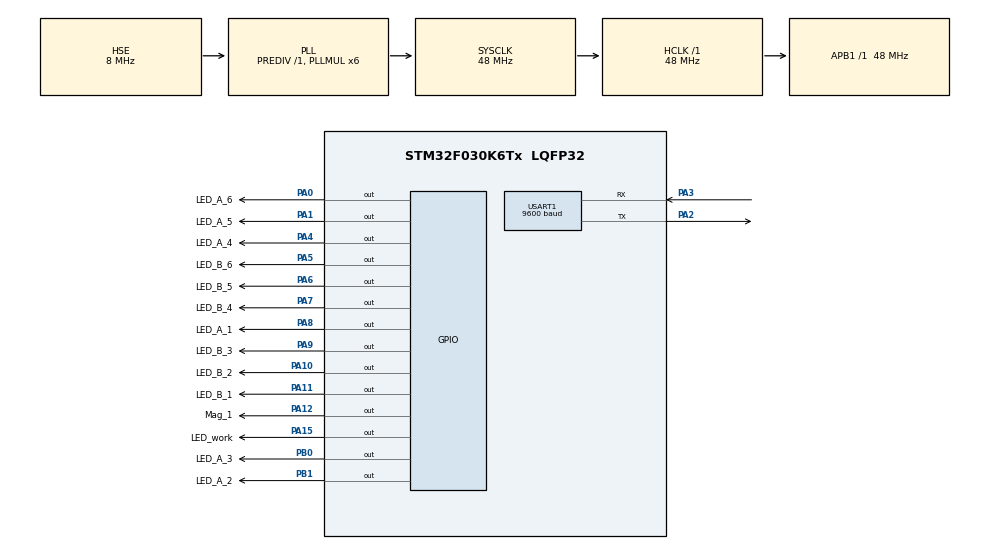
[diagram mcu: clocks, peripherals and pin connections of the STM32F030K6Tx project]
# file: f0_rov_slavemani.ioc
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Mcu.Family=STM32F0
Mcu.Name=STM32F030K6Tx
Mcu.Package=LQFP32
NVIC.USART1_IRQn=true\:0\:0\:false\:false\:true\:true
PA0.GPIO_Label=LED_A_6
PA0.Signal=GPIO_Output
PA1.GPIO_Label=LED_A_5
PA1.Signal=GPIO_Output
PA10.GPIO_Label=LED_B_2
PA10.Signal=GPIO_Output
PA11.GPIO_Label=LED_B_1
PA11.Signal=GPIO_Output
PA12.GPIO_Label=Mag_1
PA12.Signal=GPIO_Output
PA13.Mode=Serial_Wire
PA13.Signal=SYS_SWDIO
PA14.Mode=Serial_Wire
PA14.Signal=SYS_SWCLK
PA15.GPIO_Label=LED_work
PA15.Signal=GPIO_Output
PA2.Mode=Asynchronous
PA2.Signal=USART1_TX
PA3.Mode=Asynchronous
PA3.Signal=USART1_RX
PA4.GPIO_Label=LED_A_4
PA4.Signal=GPIO_Output
PA5.GPIO_Label=LED_B_6
PA5.Signal=GPIO_Output
PA6.GPIO_Label=LED_B_5
PA6.Signal=GPIO_Output
PA7.GPIO_Label=LED_B_4
PA7.Signal=GPIO_Output
PA8.GPIO_Label=LED_A_1
PA8.Signal=GPIO_Output
PA9.GPIO_Label=LED_B_3
PA9.Signal=GPIO_Output
PB0.GPIO_Label=LED_A_3
PB0.Signal=GPIO_Output
PB1.GPIO_Label=LED_A_2
PB1.Signal=GPIO_Output
PF0-OSC_IN.Mode=HSE-External-Oscillator
PF0-OSC_IN.Signal=RCC_OSC_IN
PF1-OSC_OUT.Mode=HSE-External-Oscillator
PF1-OSC_OUT.Signal=RCC_OSC_OUT
ProjectManager.HeapSize=0x200
ProjectManager.StackSize=0x400
ProjectManager.TargetToolchain=MDK-ARM V5
RCC.AHBFreq_Value=48000000
RCC.APB1Freq_Value=48000000
RCC.APB1TimFreq_Value=48000000
RCC.HCLKFreq_Value=48000000
RCC.PLLMUL=RCC_PLL_MUL6
RCC.PLLSourceVirtual=RCC_PLLSOURCE_HSE
RCC.SYSCLKFreq_VALUE=48000000
RCC.SYSCLKSource=RCC_SYSCLKSOURCE_PLLCLK
USART1.BaudRate=9600
USART1.Mode=MODE_TX_RX
USART1.VirtualMode-Asynchronous=VM_ASYNC
board=custom

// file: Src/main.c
/* USER CODE BEGIN Header */
/**
  ******************************************************************************
  * @file           : main.c
  * @brief          : Main program body
  ******************************************************************************
  ** This notice applies to any and all portions of this file
  * that are not between comment pairs USER CODE BEGIN and
  * USER CODE END. Other portions of this file, whether
  * inserted by the user or by software development tools
  * are owned by their respective copyright owners.
  *
  * COPYRIGHT(c) 2019 STMicroelectronics
  *
  * Redistribution and use in source and binary forms, with or without modification,
  * are permitted provided that the following conditions are met:
  *   1. Redistributions of source code must retain the above copyright notice,
  *      this list of conditions and the following disclaimer.
  *   2. Redistributions in binary form must reproduce the above copyright notice,
  *      this list of conditions and the following disclaimer in the documentation
  *      and/or other materials provided with the distribution.
  *   3. Neither the name of STMicroelectronics nor the names of its contributors
  *      may be used to endorse or promote products derived from this software
  *      without specific prior written permission.
  *
  * THIS SOFTWARE IS PROVIDED BY THE COPYRIGHT HOLDERS AND CONTRIBUTORS "AS IS"
  * AND ANY EXPRESS OR IMPLIED WARRANTIES, INCLUDING, BUT NOT LIMITED TO, THE
  * IMPLIED WARRANTIES OF MERCHANTABILITY AND FITNESS FOR A PARTICULAR PURPOSE ARE
  * DISCLAIMED. IN NO EVENT SHALL THE COPYRIGHT HOLDER OR CONTRIBUTORS BE LIABLE
  * FOR ANY DIRECT, INDIRECT, INCIDENTAL, SPECIAL, EXEMPLARY, OR CONSEQUENTIAL
  * DAMAGES (INCLUDING, BUT NOT LIMITED TO, PROCUREMENT OF SUBSTITUTE GOODS OR
  * SERVICES; LOSS OF USE, DATA, OR PROFITS; OR BUSINESS INTERRUPTION) HOWEVER
  * CAUSED AND ON ANY THEORY OF LIABILITY, WHETHER IN CONTRACT, STRICT LIABILITY,
  * OR TORT (INCLUDING NEGLIGENCE OR OTHERWISE) ARISING IN ANY WAY OUT OF THE USE
  * OF THIS SOFTWARE, EVEN IF ADVISED OF THE POSSIBILITY OF SUCH DAMAGE.
  *
  ******************************************************************************
  */
/* USER CODE END Header */

#include "main.h"

UART_HandleTypeDef huart1;

/* USER CODE BEGIN PV */
uint8_t command[2];
uint8_t rece[1];
/* USER CODE END PV */

void SystemClock_Config(void);
static void MX_GPIO_Init(void);
static void MX_USART1_UART_Init(void);
/* USER CODE BEGIN PFP */
void work(uint8_t* command){
  switch (command[0]) {
    case '1':
      switch (command[1]) {
        case 1:
          HAL_GPIO_WritePin(LED_A_1_GPIO_Port,LED_A_1_Pin,GPIO_PIN_SET);
          HAL_GPIO_WritePin(LED_A_2_GPIO_Port,LED_A_2_Pin,GPIO_PIN_RESET);
          HAL_GPIO_WritePin(LED_A_3_GPIO_Port,LED_A_3_Pin,GPIO_PIN_RESET);
          HAL_GPIO_WritePin(LED_A_4_GPIO_Port,LED_A_4_Pin,GPIO_PIN_RESET);
          HAL_GPIO_WritePin(LED_A_5_GPIO_Port,LED_A_5_Pin,GPIO_PIN_RESET);
          HAL_GPIO_WritePin(LED_A_6_GPIO_Port,LED_A_6_Pin,GPIO_PIN_RESET);
          break;

        case 2:
          HAL_GPIO_WritePin(LED_A_1_GPIO_Port,LED_A_1_Pin,GPIO_PIN_SET);
          HAL_GPIO_WritePin(LED_A_2_GPIO_Port,LED_A_2_Pin,GPIO_PIN_SET);
          HAL_GPIO_WritePin(LED_A_3_GPIO_Port,LED_A_3_Pin,GPIO_PIN_RESET);
          HAL_GPIO_WritePin(LED_A_4_GPIO_Port,LED_A_4_Pin,GPIO_PIN_RESET);
          HAL_GPIO_WritePin(LED_A_5_GPIO_Port,LED_A_5_Pin,GPIO_PIN_RESET);
          HAL_GPIO_WritePin(LED_A_6_GPIO_Port,LED_A_6_Pin,GPIO_PIN_RESET);
          break;

        case 3:
          HAL_GPIO_WritePin(LED_A_1_GPIO_Port,LED_A_1_Pin,GPIO_PIN_SET);
          HAL_GPIO_WritePin(LED_A_2_GPIO_Port,LED_A_2_Pin,GPIO_PIN_SET);
          HAL_GPIO_WritePin(LED_A_3_GPIO_Port,LED_A_3_Pin,GPIO_PIN_SET);
          HAL_GPIO_WritePin(LED_A_4_GPIO_Port,LED_A_4_Pin,GPIO_PIN_RESET);
          HAL_GPIO_WritePin(LED_A_5_GPIO_Port,LED_A_5_Pin,GPIO_PIN_RESET);
          HAL_GPIO_WritePin(LED_A_6_GPIO_Port,LED_A_6_Pin,GPIO_PIN_RESET);
          break;

        case 4:
          HAL_GPIO_WritePin(LED_A_1_GPIO_Port,LED_A_1_Pin,GPIO_PIN_SET);
          HAL_GPIO_WritePin(LED_A_2_GPIO_Port,LED_A_2_Pin,GPIO_PIN_SET);
          HAL_GPIO_WritePin(LED_A_3_GPIO_Port,LED_A_3_Pin,GPIO_PIN_SET);
          HAL_GPIO_WritePin(LED_A_4_GPIO_Port,LED_A_4_Pin,GPIO_PIN_SET);
          HAL_GPIO_WritePin(LED_A_5_GPIO_Port,LED_A_5_Pin,GPIO_PIN_RESET);
          HAL_GPIO_WritePin(LED_A_6_GPIO_Port,LED_A_6_Pin,GPIO_PIN_RESET);
          break;

        case 5:
          HAL_GPIO_WritePin(LED_A_1_GPIO_Port,LED_A_1_Pin,GPIO_PIN_SET);
          HAL_GPIO_WritePin(LED_A_2_GPIO_Port,LED_A_2_Pin,GPIO_PIN_SET);
          HAL_GPIO_WritePin(LED_A_3_GPIO_Port,LED_A_3_Pin,GPIO_PIN_SET);
          HAL_GPIO_WritePin(LED_A_4_GPIO_Port,LED_A_4_Pin,GPIO_PIN_SET);
          HAL_GPIO_WritePin(LED_A_5_GPIO_Port,LED_A_5_Pin,GPIO_PIN_SET);
          HAL_GPIO_WritePin(LED_A_6_GPIO_Port,LED_A_6_Pin,GPIO_PIN_RESET);
          break;

        case 6:
          HAL_GPIO_WritePin(LED_A_1_GPIO_Port,LED_A_1_Pin,GPIO_PIN_SET);
          HAL_GPIO_WritePin(LED_A_2_GPIO_Port,LED_A_2_Pin,GPIO_PIN_SET);
          HAL_GPIO_WritePin(LED_A_3_GPIO_Port,LED_A_3_Pin,GPIO_PIN_SET);
          HAL_GPIO_WritePin(LED_A_4_GPIO_Port,LED_A_4_Pin,GPIO_PIN_SET);
          HAL_GPIO_WritePin(LED_A_5_GPIO_Port,LED_A_5_Pin,GPIO_PIN_SET);
          HAL_GPIO_WritePin(LED_A_6_GPIO_Port,LED_A_6_Pin,GPIO_PIN_SET);
          break;

        default:
          HAL_GPIO_WritePin(LED_A_1_GPIO_Port,LED_A_1_Pin,GPIO_PIN_RESET);
          HAL_GPIO_WritePin(LED_A_2_GPIO_Port,LED_A_2_Pin,GPIO_PIN_RESET);
          HAL_GPIO_WritePin(LED_A_3_GPIO_Port,LED_A_3_Pin,GPIO_PIN_RESET);
          HAL_GPIO_WritePin(LED_A_4_GPIO_Port,LED_A_4_Pin,GPIO_PIN_RESET);
          HAL_GPIO_WritePin(LED_A_5_GPIO_Port,LED_A_5_Pin,GPIO_PIN_RESET);
          HAL_GPIO_WritePin(LED_A_6_GPIO_Port,LED_A_6_Pin,GPIO_PIN_RESET);
          break;
      }
      break;

    case '2':
      switch (command[1]) {
        case 1:
          HAL_GPIO_WritePin(LED_B_1_GPIO_Port,LED_B_1_Pin,GPIO_PIN_SET);
          HAL_GPIO_WritePin(LED_B_2_GPIO_Port,LED_B_2_Pin,GPIO_PIN_RESET);
          HAL_GPIO_WritePin(LED_B_3_GPIO_Port,LED_B_3_Pin,GPIO_PIN_RESET);
          HAL_GPIO_WritePin(LED_B_4_GPIO_Port,LED_B_4_Pin,GPIO_PIN_RESET);
          HAL_GPIO_WritePin(LED_B_5_GPIO_Port,LED_B_5_Pin,GPIO_PIN_RESET);
          HAL_GPIO_WritePin(LED_B_6_GPIO_Port,LED_B_6_Pin,GPIO_PIN_RESET);
          break;

        case 2:
          HAL_GPIO_WritePin(LED_B_1_GPIO_Port,LED_B_1_Pin,GPIO_PIN_SET);
          HAL_GPIO_WritePin(LED_B_2_GPIO_Port,LED_B_2_Pin,GPIO_PIN_SET);
          HAL_GPIO_WritePin(LED_B_3_GPIO_Port,LED_B_3_Pin,GPIO_PIN_RESET);
          HAL_GPIO_WritePin(LED_B_4_GPIO_Port,LED_B_4_Pin,GPIO_PIN_RESET);
          HAL_GPIO_WritePin(LED_B_5_GPIO_Port,LED_B_5_Pin,GPIO_PIN_RESET);
          HAL_GPIO_WritePin(LED_B_6_GPIO_Port,LED_B_6_Pin,GPIO_PIN_RESET);
          break;

        case 3:
          HAL_GPIO_WritePin(LED_B_1_GPIO_Port,LED_B_1_Pin,GPIO_PIN_SET);
          HAL_GPIO_WritePin(LED_B_2_GPIO_Port,LED_B_2_Pin,GPIO_PIN_SET);
          HAL_GPIO_WritePin(LED_B_3_GPIO_Port,LED_B_3_Pin,GPIO_PIN_SET);
          HAL_GPIO_WritePin(LED_B_4_GPIO_Port,LED_B_4_Pin,GPIO_PIN_RESET);
          HAL_GPIO_WritePin(LED_B_5_GPIO_Port,LED_B_5_Pin,GPIO_PIN_RESET);
          HAL_GPIO_WritePin(LED_B_6_GPIO_Port,LED_B_6_Pin,GPIO_PIN_RESET);
          break;

        case 4:
          HAL_GPIO_WritePin(LED_B_1_GPIO_Port,LED_B_1_Pin,GPIO_PIN_SET);
          HAL_GPIO_WritePin(LED_B_2_GPIO_Port,LED_B_2_Pin,GPIO_PIN_SET);
          HAL_GPIO_WritePin(LED_B_3_GPIO_Port,LED_B_3_Pin,GPIO_PIN_SET);
          HAL_GPIO_WritePin(LED_B_4_GPIO_Port,LED_B_4_Pin,GPIO_PIN_SET);
          HAL_GPIO_WritePin(LED_B_5_GPIO_Port,LED_B_5_Pin,GPIO_PIN_RESET);
          HAL_GPIO_WritePin(LED_B_6_GPIO_Port,LED_B_6_Pin,GPIO_PIN_RESET);
          break;

        case 5:
          HAL_GPIO_WritePin(LED_B_1_GPIO_Port,LED_B_1_Pin,GPIO_PIN_SET);
          HAL_GPIO_WritePin(LED_B_2_GPIO_Port,LED_B_2_Pin,GPIO_PIN_SET);
          HAL_GPIO_WritePin(LED_B_3_GPIO_Port,LED_B_3_Pin,GPIO_PIN_SET);
          HAL_GPIO_WritePin(LED_B_4_GPIO_Port,LED_B_4_Pin,GPIO_PIN_SET);
          HAL_GPIO_WritePin(LED_B_5_GPIO_Port,LED_B_5_Pin,GPIO_PIN_SET);
          HAL_GPIO_WritePin(LED_B_6_GPIO_Port,LED_B_6_Pin,GPIO_PIN_RESET);
          break;

        case 6:
          HAL_GPIO_WritePin(LED_B_1_GPIO_Port,LED_B_1_Pin,GPIO_PIN_SET);
          HAL_GPIO_WritePin(LED_B_2_GPIO_Port,LED_B_2_Pin,GPIO_PIN_SET);
          HAL_GPIO_WritePin(LED_B_3_GPIO_Port,LED_B_3_Pin,GPIO_PIN_SET);
          HAL_GPIO_WritePin(LED_B_4_GPIO_Port,LED_B_4_Pin,GPIO_PIN_SET);
          HAL_GPIO_WritePin(LED_B_5_GPIO_Port,LED_B_5_Pin,GPIO_PIN_SET);
          HAL_GPIO_WritePin(LED_B_6_GPIO_Port,LED_B_6_Pin,GPIO_PIN_SET);
          break;

        default:
          HAL_GPIO_WritePin(LED_B_1_GPIO_Port,LED_B_1_Pin,GPIO_PIN_RESET);
          HAL_GPIO_WritePin(LED_B_2_GPIO_Port,LED_B_2_Pin,GPIO_PIN_RESET);
          HAL_GPIO_WritePin(LED_B_3_GPIO_Port,LED_B_3_Pin,GPIO_PIN_RESET);
          HAL_GPIO_WritePin(LED_B_4_GPIO_Port,LED_B_4_Pin,GPIO_PIN_RESET);
          HAL_GPIO_WritePin(LED_B_5_GPIO_Port,LED_B_5_Pin,GPIO_PIN_RESET);
          HAL_GPIO_WritePin(LED_B_6_GPIO_Port,LED_B_6_Pin,GPIO_PIN_RESET);
          break;
      }
      break;

    case 'M':
      READ_BIT(command[1],1)?HAL_GPIO_TogglePin(Mag_1_GPIO_Port,Mag_1_Pin):HAL_GPIO_WritePin(Mag_1_GPIO_Port,Mag_1_Pin,GPIO_PIN_RESET);
      break;
  }
}
void HAL_UART_RxCpltCallback(UART_HandleTypeDef *huart){
  switch (rece[0]) {
    case '1':
    case '2':
    case 'M':
      command[0] = rece[0];
      break;

    default:
      command[1] = rece[0];
      work(command);
      break;
  }
  HAL_UART_Receive_IT(&huart1,rece,1);
}
/* USER CODE END PFP */

int main(void)
{

  /* MCU Configuration--------------------------------------------------------*/

  /* Reset of all peripherals, Initializes the Flash interface and the Systick. */
  HAL_Init();

  /* Configure the system clock */
  SystemClock_Config();

  /* Initialize all configured peripherals */
  MX_GPIO_Init();
  MX_USART1_UART_Init();
  /* USER CODE BEGIN 2 */
  HAL_UART_Receive_IT(&huart1,rece,1);
  /* USER CODE END 2 */

  /* Infinite loop */
  /* USER CODE BEGIN WHILE */
  while (1)
  {
    HAL_GPIO_TogglePin(LED_work_GPIO_Port,LED_work_Pin);
    /* USER CODE END WHILE */

  }
}

void SystemClock_Config(void)
{
  RCC_OscInitTypeDef RCC_OscInitStruct = {0};
  RCC_ClkInitTypeDef RCC_ClkInitStruct = {0};
  RCC_PeriphCLKInitTypeDef PeriphClkInit = {0};

  /**Initializes the CPU, AHB and APB busses clocks
  */
  RCC_OscInitStruct.OscillatorType = RCC_OSCILLATORTYPE_HSE;
  RCC_OscInitStruct.HSEState = RCC_HSE_ON;
  RCC_OscInitStruct.PLL.PLLState = RCC_PLL_ON;
  RCC_OscInitStruct.PLL.PLLSource = RCC_PLLSOURCE_HSE;
  RCC_OscInitStruct.PLL.PLLMUL = RCC_PLL_MUL6;
  RCC_OscInitStruct.PLL.PREDIV = RCC_PREDIV_DIV1;
  if (HAL_RCC_OscConfig(&RCC_OscInitStruct) != HAL_OK)
  {
    Error_Handler();
  }
  /**Initializes the CPU, AHB and APB busses clocks
  */
  RCC_ClkInitStruct.ClockType = RCC_CLOCKTYPE_HCLK|RCC_CLOCKTYPE_SYSCLK
                              |RCC_CLOCKTYPE_PCLK1;
  RCC_ClkInitStruct.SYSCLKSource = RCC_SYSCLKSOURCE_PLLCLK;
  RCC_ClkInitStruct.AHBCLKDivider = RCC_SYSCLK_DIV1;
  RCC_ClkInitStruct.APB1CLKDivider = RCC_HCLK_DIV1;

  if (HAL_RCC_ClockConfig(&RCC_ClkInitStruct, FLASH_LATENCY_1) != HAL_OK)
  {
    Error_Handler();
  }
  PeriphClkInit.PeriphClockSelection = RCC_PERIPHCLK_USART1;
  PeriphClkInit.Usart1ClockSelection = RCC_USART1CLKSOURCE_PCLK1;
  if (HAL_RCCEx_PeriphCLKConfig(&PeriphClkInit) != HAL_OK)
  {
    Error_Handler();
  }
}

static void MX_USART1_UART_Init(void)
{

  huart1.Instance = USART1;
  huart1.Init.BaudRate = 9600;
  huart1.Init.WordLength = UART_WORDLENGTH_8B;
  huart1.Init.StopBits = UART_STOPBITS_1;
  huart1.Init.Parity = UART_PARITY_NONE;
  huart1.Init.Mode = UART_MODE_TX_RX;
  huart1.Init.HwFlowCtl = UART_HWCONTROL_NONE;
  huart1.Init.OverSampling = UART_OVERSAMPLING_16;
  huart1.Init.OneBitSampling = UART_ONE_BIT_SAMPLE_DISABLE;
  huart1.AdvancedInit.AdvFeatureInit = UART_ADVFEATURE_NO_INIT;
  if (HAL_UART_Init(&huart1) != HAL_OK)
  {
    Error_Handler();
  }

}

static void MX_GPIO_Init(void)
{
  GPIO_InitTypeDef GPIO_InitStruct = {0};

  /* GPIO Ports Clock Enable */
  __HAL_RCC_GPIOF_CLK_ENABLE();
  __HAL_RCC_GPIOA_CLK_ENABLE();
  __HAL_RCC_GPIOB_CLK_ENABLE();

  /*Configure GPIO pin Output Level */
  HAL_GPIO_WritePin(GPIOA, LED_A_6_Pin|LED_A_5_Pin|LED_A_4_Pin|LED_B_6_Pin
                          |LED_B_5_Pin|LED_B_4_Pin|LED_A_1_Pin|LED_B_3_Pin
                          |LED_B_2_Pin|LED_B_1_Pin|Mag_1_Pin|LED_work_Pin, GPIO_PIN_RESET);

  /*Configure GPIO pin Output Level */
  HAL_GPIO_WritePin(GPIOB, LED_A_3_Pin|LED_A_2_Pin, GPIO_PIN_RESET);

  /*Configure GPIO pins : LED_A_6_Pin LED_A_5_Pin LED_A_4_Pin LED_B_6_Pin
                           LED_B_5_Pin LED_B_4_Pin LED_A_1_Pin LED_B_3_Pin
                           LED_B_2_Pin LED_B_1_Pin Mag_1_Pin LED_work_Pin */
  GPIO_InitStruct.Pin = LED_A_6_Pin|LED_A_5_Pin|LED_A_4_Pin|LED_B_6_Pin
                          |LED_B_5_Pin|LED_B_4_Pin|LED_A_1_Pin|LED_B_3_Pin
                          |LED_B_2_Pin|LED_B_1_Pin|Mag_1_Pin|LED_work_Pin;
  GPIO_InitStruct.Mode = GPIO_MODE_OUTPUT_PP;
  GPIO_InitStruct.Pull = GPIO_NOPULL;
  GPIO_InitStruct.Speed = GPIO_SPEED_FREQ_LOW;
  HAL_GPIO_Init(GPIOA, &GPIO_InitStruct);

  /*Configure GPIO pins : LED_A_3_Pin LED_A_2_Pin */
  GPIO_InitStruct.Pin = LED_A_3_Pin|LED_A_2_Pin;
  GPIO_InitStruct.Mode = GPIO_MODE_OUTPUT_PP;
  GPIO_InitStruct.Pull = GPIO_NOPULL;
  GPIO_InitStruct.Speed = GPIO_SPEED_FREQ_LOW;
  HAL_GPIO_Init(GPIOB, &GPIO_InitStruct);

}

void Error_Handler(void)
{
}

/************************ (C) COPYRIGHT STMicroelectronics *****END OF FILE****/
